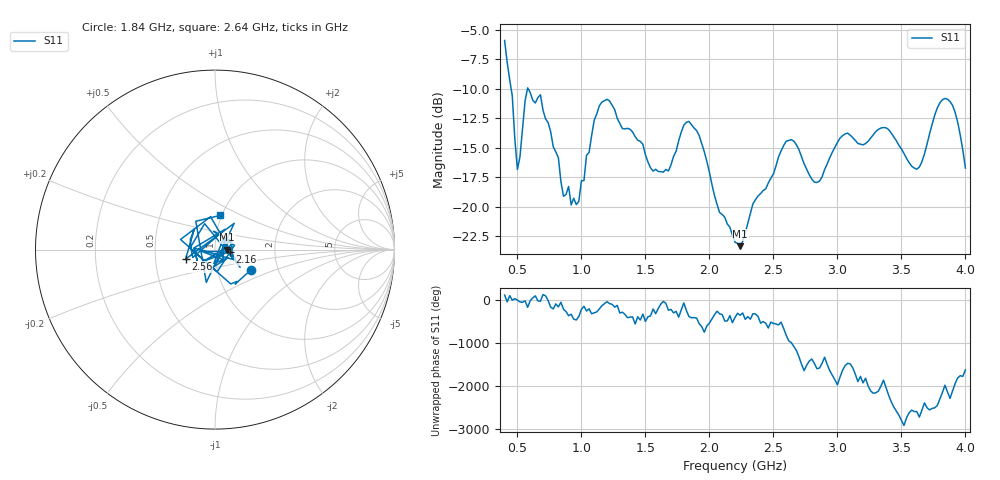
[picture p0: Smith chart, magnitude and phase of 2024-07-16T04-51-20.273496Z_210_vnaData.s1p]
!Created with skrf (http://scikit-rf.org).
# Hz S RI R 50.0
!freq ReS11 ImS11
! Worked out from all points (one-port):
!   181 points, 400 MHz to 4 GHz, reference 50 ohm
!   lowest |S11| = -23.4 dB at 2.24 GHz (marker M1), VSWR 1.15, Z = 57.3 - j0.138 ohm
!   |S11| at or under -10 dB: 451.1 MHz to 578.6 MHz (127.6 MHz wide, 24.8 % of centre); 583.8 MHz to end of sweep
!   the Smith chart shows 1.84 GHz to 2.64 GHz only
!   S11 on the Smith chart (normalised r, x): 1.84 GHz: 1.45, -0.35; 2.16 GHz: 1.18, -0.03; 2.56 GHz: 0.71, -0.08; 2.64 GHz: 0.98, +0.39
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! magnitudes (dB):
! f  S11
! 400 MHz  -5.9
! 460 MHz  -10.6
! 500 MHz  -16.8
! 580 MHz  -9.9
! 680 MHz  -10.5
! 820 MHz  -15.8
! 860 MHz  -19.1
! 980 MHz  -19.6
! 1.16 GHz  -11.1
! 1.3 GHz  -12.9
! 1.56 GHz  -17.0
! 1.68 GHz  -17.0
! 1.76 GHz  -14.4
! 1.84 GHz  -12.8
! 2.16 GHz  -21.7
! 2.2 GHz  -23.0
! 2.24 GHz  -23.4
! 2.56 GHz  -15.3
! 2.64 GHz  -14.3
! 2.66 GHz  -14.5
! 2.84 GHz  -18.0
! 3.1 GHz  -13.9
! 3.38 GHz  -13.3
! 3.56 GHz  -16.3
! 3.64 GHz  -16.7
! 3.84 GHz  -10.8
! 3.92 GHz  -12.0
! 4 GHz  -16.7
